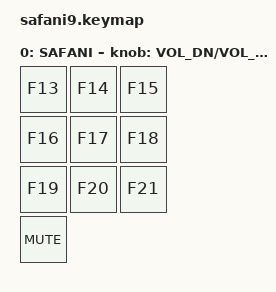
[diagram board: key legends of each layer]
#include <behaviors.dtsi>
#include <dt-bindings/zmk/keys.h>

/ {
    keymap {
        compatible = "zmk,keymap";

        default_layer {
            display-name = "SAFANI";

            /*
             *  K1    K2    K3
             *  K4    K5    K6
             *  K7    K8    K9
             *  ENC SW
             */
            bindings = <
                &kp F13  &kp F14  &kp F15
                &kp F16  &kp F17  &kp F18
                &kp F19  &kp F20  &kp F21
                &kp C_MUTE
            >;

            /* Clockwise = volume up, counter-clockwise = volume down */
            sensor-bindings = <
                &inc_dec_kp C_VOL_DN C_VOL_UP
            >;
        };
    };
};
